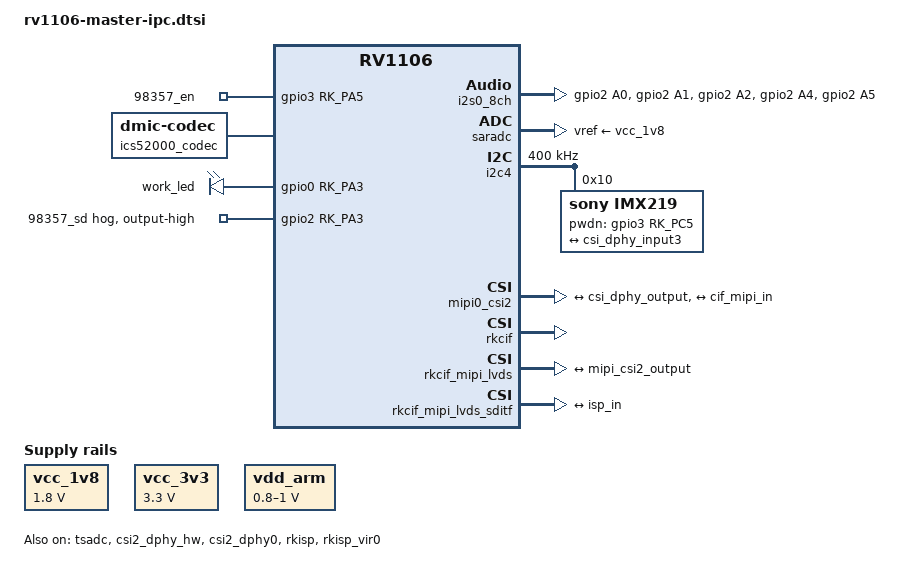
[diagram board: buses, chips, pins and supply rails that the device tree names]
// SPDX-License-Identifier: (GPL-2.0+ OR MIT)
/*
 * Copyright (c) 2022 Rockchip Electronics Co., Ltd.
 */
#include "rv1106-amp.dtsi"

/ {
	chosen {
		bootargs = "earlycon=uart8250,mmio32,0xff4c0000 console=ttyFIQ0 root=/dev/mmcblk1p7 rootwait snd_soc_core.prealloc_buffer_size_kbytes=16 coherent_pool=0";
	};

	reserved_memory: reserved-memory {
		#address-cells = <1>;
		#size-cells = <1>;
		ranges;
		
		drm_logo: drm-logo@00000000 {
			compatible = "rockchip,drm-logo";
			reg = <0x0 0x0>;
		};
		
		rkisp_reserved: rkisp@0 {
			compatible = "shared-dma-pool";
			inactive;
			reusable;
			size = <0x800000>; /* ISP 8MiB */
		};

		linux,cma {
			status = "okay";
			compatible = "shared-dma-pool";
			inactive;
			reusable;
			size = <0xA00000>; /* CMA 10MiB */
			linux,cma-default;
		};
	};

	/*
	 * 音频：i2s0_8ch 全双工，共用 BCLK/LRCK（trcm=1）须同帧长。
	 * 播：GPIO2_A4（SDO0）→ MAX98357；采：GPIO2_A5（SDI0）← 3×ICS-52000 TDM。
	 * 帧格式：dsp_a，8×32 slot → BCLK=256×Fs（与 12.288MHz MCLK、MAX TDM-32 / ICS Table8 n=8 对齐）。
	 * 使能：GPIO2_A3（SD_MODE）gpio-hog；GPIO3_A5（EN）→ leds/98357_en，需 pinctrl 为 GPIO。
	 */
	max98357_en_leds: max98357-en-leds {
		compatible = "gpio-leds";
		pinctrl-names = "default";
		pinctrl-0 = <&max98357_en_pin>;

		max98357_en {
			label = "98357_en";
			gpios = <&gpio3 RK_PA5 GPIO_ACTIVE_HIGH>;
			default-state = "on";
			linux,default-trigger = "none";
		};
	};

	max98357a: max98357a {
		compatible = "maxim,max98357a";
		#sound-dai-cells = <0>;
	};

	/* ICS-52000：dmic-codec 占位，声道=8（与 TDM slot 一致） */
	ics52000_codec: ics52000-codec {
		compatible = "dmic-codec";
		num-channels = <8>;
		#sound-dai-cells = <0>;
	};

	max98357_sound: max98357-sound {
		status = "okay";
		compatible = "simple-audio-card";
		simple-audio-card,name = "RV1106_Audio";
		simple-audio-card,mclk-fs = <256>;
		#address-cells = <1>;
		#size-cells = <0>;

		/* link@0：播放 → MAX98357 */
		simple-audio-card,dai-link@0 {
			reg = <0>;
			format = "dsp_a";
			bitclock-master = <&play_cpu>;
			frame-master = <&play_cpu>;
			play_cpu: cpu {
				sound-dai = <&i2s0_8ch>;
				dai-tdm-slot-num = <8>;
				dai-tdm-slot-width = <32>;
			};
			codec {
				sound-dai = <&max98357a>;
			};
		};

		/* link@1：采集 → 3×ICS-52000 */
		simple-audio-card,dai-link@1 {
			reg = <1>;
			format = "dsp_a";
			bitclock-master = <&ics_cpu>;
			frame-master = <&ics_cpu>;
			ics_cpu: cpu {
				sound-dai = <&i2s0_8ch>;
				dai-tdm-slot-num = <8>;
				dai-tdm-slot-width = <32>;
			};
			codec {
				sound-dai = <&ics52000_codec>;
			};
		};
	};

	vcc_1v8: vcc-1v8 {
		compatible = "regulator-fixed";
		regulator-name = "vcc_1v8";
		regulator-always-on;
		regulator-boot-on;
		regulator-min-microvolt = <1800000>;
		regulator-max-microvolt = <1800000>;
	};

	vcc_3v3: vcc-3v3 {
		compatible = "regulator-fixed";
		regulator-name = "vcc_3v3";
		regulator-always-on;
		regulator-boot-on;
		regulator-min-microvolt = <3300000>;
		regulator-max-microvolt = <3300000>;
	};

	vdd_arm: vdd-arm {
		compatible = "regulator-fixed";
		regulator-name = "vdd_arm";
		regulator-min-microvolt = <800000>;
		regulator-max-microvolt = <1000000>;
		regulator-init-microvolt = <900000>;
		regulator-always-on;
		regulator-boot-on;
	};

	leds: leds {
		compatible = "gpio-leds";
		work_led: work{
			gpios = <&gpio0 RK_PA3 GPIO_ACTIVE_HIGH>;
			linux,default-trigger = "activity";
			default-state = "on";
		};	
	};

};

/* I2S0：MAX98357 播放 + ICS-52000 采集 */
&i2s0_8ch {
	#sound-dai-cells = <0>;
	status = "okay";
	pinctrl-names = "default";
	pinctrl-0 = <&i2s0_custom_pins>;
	/* trcm=1：RX 共用 TX BCLK/LRCK；bclk-fs=256×Fs；sdi0 → RX channel 0 */
	rockchip,clk-trcm = <1>;
	rockchip,bclk-fs = <256>;
	rockchip,playback-channels = <2>;
	rockchip,capture-channels = <8>;
	rockchip,i2s-rx-route = <0 1 2 3>;
	assigned-clocks = <&cru MCLK_I2S0_8CH_TX>;
	assigned-clock-rates = <12288000>;
};

&acodec {
	status = "disabled";
	#sound-dai-cells = <0>;
};

&cpu0 {
	cpu-supply = <&vdd_arm>;
};

&saradc {
	status = "okay";
	vref-supply = <&vcc_1v8>;
};

&tsadc {
	status = "okay";
};

&csi2_dphy_hw {
	status = "okay";
};

&csi2_dphy0 {
	status = "okay";

	ports {
		#address-cells = <1>;
		#size-cells = <0>;

		port@0 {
			reg = <0>;
			#address-cells = <1>;
			#size-cells = <0>;

			csi_dphy_input0: endpoint@0 {
				reg = <0>;
				remote-endpoint = <&sc3336_out>;
				data-lanes = <1 2>;
			};

			csi_dphy_input1: endpoint@1 {
				reg = <1>;
				remote-endpoint = <&sc4336_out>;
				data-lanes = <1 2>;
			};

			csi_dphy_input2: endpoint@2 {
				reg = <2>;
				remote-endpoint = <&sc530ai_out>;
				data-lanes = <1 2>;
			};

			csi_dphy_input3: endpoint@3 {
				reg = <3>;
				remote-endpoint = <&imx219_out>;
				data-lanes = <1 2>;
			};

		};

		port@1 {
			reg = <1>;
			#address-cells = <1>;
			#size-cells = <0>;

			csi_dphy_output: endpoint@0 {
				reg = <0>;
				remote-endpoint = <&mipi_csi2_input>;
			};
		};
	};
};

&i2c4 {
	status = "okay";
	clock-frequency = <400000>;
	pinctrl-names = "default";
	pinctrl-0 = <&i2c4m2_xfer>;

	sc3336: sc3336@30 {
		compatible = "smartsens,sc3336";
		status = "disabled";
		reg = <0x30>;
		clocks = <&cru MCLK_REF_MIPI0>;
		clock-names = "xvclk";
		pwdn-gpios = <&gpio3 RK_PC5 GPIO_ACTIVE_HIGH>;
		pinctrl-names = "default";
		pinctrl-0 = <&mipi_refclk_out0>;
		rockchip,camera-module-index = <0>;
		rockchip,camera-module-facing = "back";
		rockchip,camera-module-name = "CMK-OT2119-PC1";
		rockchip,camera-module-lens-name = "30IRC-F16";
		port {
			sc3336_out: endpoint {
				remote-endpoint = <&csi_dphy_input0>;
				data-lanes = <1 2>;
			};
		};
	};

	sc4336: sc4336@30 {
		compatible = "smartsens,sc4336";
		status = "disabled";
		reg = <0x30>;
		clocks = <&cru MCLK_REF_MIPI0>;
		clock-names = "xvclk";
		pwdn-gpios = <&gpio3 RK_PC5 GPIO_ACTIVE_HIGH>;
		pinctrl-names = "default";
		pinctrl-0 = <&mipi_refclk_out0>;
		rockchip,camera-module-index = <0>;
		rockchip,camera-module-facing = "back";
		rockchip,camera-module-name = "OT01";
		rockchip,camera-module-lens-name = "40IRC_F16";
		port {
			sc4336_out: endpoint {
				remote-endpoint = <&csi_dphy_input1>;
				data-lanes = <1 2>;
			};
		};
	};

	sc530ai: sc530ai@30 {
		compatible = "smartsens,sc530ai";
		status = "disabled";
		reg = <0x30>;
		clocks = <&cru MCLK_REF_MIPI0>;
		clock-names = "xvclk";
		pwdn-gpios = <&gpio3 RK_PC5 GPIO_ACTIVE_HIGH>;
		pinctrl-names = "default";
		pinctrl-0 = <&mipi_refclk_out0>;
		rockchip,camera-module-index = <0>;
		rockchip,camera-module-facing = "back";
		rockchip,camera-module-name = "CMK-OT2115-PC1";
		rockchip,camera-module-lens-name = "30IRC-F16";
		port {
			sc530ai_out: endpoint {
				remote-endpoint = <&csi_dphy_input2>;
				data-lanes = <1 2>;
			};
		};
	};

	imx219: imx219@10 {
		compatible = "sony,imx219";
		status = "okay";
		reg = <0x10>;

		clocks = <&cru MCLK_REF_MIPI0>;


		clock-names = "xvclk";
		assigned-clocks = <&cru MCLK_REF_MIPI0>;
        	assigned-clock-rates = <24000000>;

		pwdn-gpios = <&gpio3 RK_PC5 GPIO_ACTIVE_HIGH>;

		pinctrl-names = "default";
		pinctrl-0 = <&mipi_refclk_out0>;
		rockchip,camera-module-index = <0>;
		rockchip,camera-module-facing = "back";
		rockchip,camera-module-name = "default";
		rockchip,camera-module-lens-name = "default";
		
		port {
			imx219_out: endpoint {
				remote-endpoint = <&csi_dphy_input3>;
				data-lanes = <1 2>;
				link-frequencies = /bits/ 64 <456000000>;
			};
		};
	};

};

&mipi0_csi2 {
	status = "okay";

	ports {
		#address-cells = <1>;
		#size-cells = <0>;

		port@0 {
			reg = <0>;
			#address-cells = <1>;
			#size-cells = <0>;

			mipi_csi2_input: endpoint@1 {
				reg = <1>;
				remote-endpoint = <&csi_dphy_output>;
			};
		};

		port@1 {
			reg = <1>;
			#address-cells = <1>;
			#size-cells = <0>;

			mipi_csi2_output: endpoint@0 {
				reg = <0>;
				remote-endpoint = <&cif_mipi_in>;
			};
		};
	};
};

&rkcif {
	status = "okay";
};

&rkcif_mipi_lvds {
	status = "okay";

	pinctrl-names = "default";
	pinctrl-0 = <&mipi_pins>;
	port {
		cif_mipi_in: endpoint {
			remote-endpoint = <&mipi_csi2_output>;
		};
	};
};

&rkcif_mipi_lvds_sditf {
	status = "okay";

	port {
		mipi_lvds_sditf: endpoint {
			remote-endpoint = <&isp_in>;
		};
	};
};

&rkisp {
	status = "okay";
	memory-region = <&rkisp_reserved>;
};

&rkisp_vir0 {
	status = "okay";

	port@0 {
		isp_in: endpoint {
			remote-endpoint = <&mipi_lvds_sditf>;
		};
	};
};

/* MAX98357 SD_MODE：GPIO2_A3 常高 */
&gpio2 {
	max98357_sd_hog: max98357-sd-hog {
		gpio-hog;
		gpios = <RK_PA3 GPIO_ACTIVE_HIGH>;
		output-high;
		line-name = "98357_sd";
	};
};

/* 外设引脚复用 */
&i2c0 {
	pinctrl-0 = <&i2c0m2_xfer>;
};

&i2c1 {
	pinctrl-0 = <&i2c1m1_xfer>;
};

&i2c3 {
	pinctrl-0 = <&i2c3m1_xfer>;
};

&uart0 {
	pinctrl-0 = <&uart0m0_xfer &uart0m1_xfer>;
};
&uart1 {
	pinctrl-0 = <&uart1m1_xfer>;
};
&uart3 {
	pinctrl-0 = <&uart3m1_xfer>;
};
&uart4 {
	pinctrl-0 = <&uart4m1_xfer>;
};
&uart5 {
	pinctrl-0 = <&uart5m0_xfer>;
};

&pinctrl {
	/* MAX98357 EN（GPIO3_A5）：MUX=GPIO（否则与 SDMMC/UART/PWM 复用冲突） */
	max98357_en {
		max98357_en_pin: max98357-en-pin {
			rockchip,pins =
				<3 RK_PA5 RK_FUNC_GPIO &pcfg_pull_none>;
		};
	};

	/* I2S0：PA0~2 M/SCLK&LRCK&MCLK，PA4 DO→MAX98357，PA5 DI←ICS；PA3 为 GPIO（SD_MODE 见 gpio-hog） */
	i2s0_custom {
		i2s0_custom_pins: i2s0-custom-pins {
			rockchip,pins =
				<2 RK_PA0 2 &pcfg_pull_none>,
				<2 RK_PA1 2 &pcfg_pull_none>,
				<2 RK_PA2 2 &pcfg_pull_none>,
				<2 RK_PA4 2 &pcfg_pull_none>,
				<2 RK_PA5 2 &pcfg_pull_none>;
		};
	};

};


